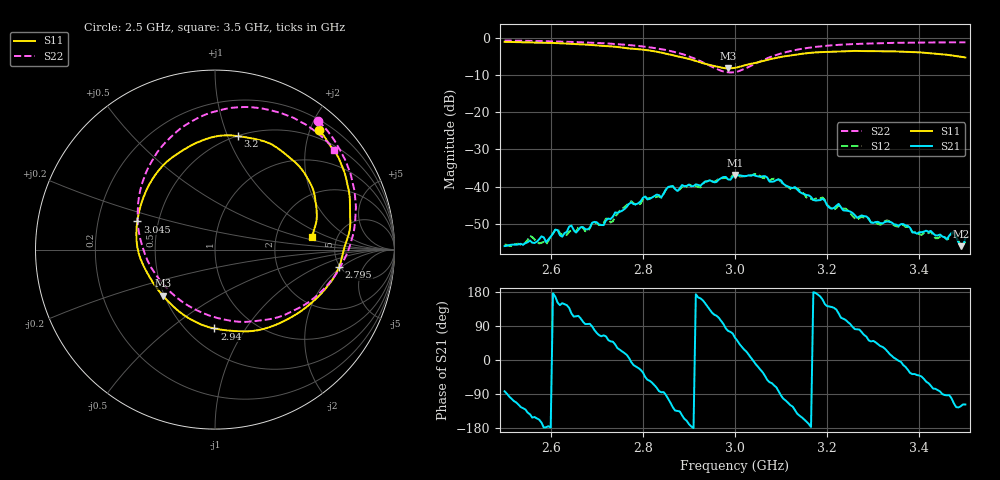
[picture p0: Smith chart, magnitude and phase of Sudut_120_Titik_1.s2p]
# Hz S RI R 50
! CMT, C1220, 16058040, 17.2.0/1
! Date: 15/08/2018 09:47:39
! Data: Format (Calibration Info)
! Freq  S11: Re/Im (F2)  S21: Re/Im (F2)  S12: Re/Im (F2)  S22: Re/Im (F2)
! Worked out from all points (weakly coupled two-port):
!   201 points, 2.5 GHz to 3.5 GHz, reference 50 ohm
!   highest |S21| = -36.91 dB at 3 GHz (marker M1); lowest = -56.0 dB at 3.49 GHz (marker M2)
!   lowest |S11| = -8.2 dB at 2.985 GHz (marker M3), VSWR 2.27, Z = 24.6 - j14.9 ohm
!   |S11| at or under -10 dB: nowhere
!   |S22| runs from -9.3 to -0.7 dB; largest |S21 - S12| = 0.0012
!   S11 on the Smith chart (normalised r, x): 2.5 GHz: 0.36, +2.14; 2.795 GHz: 4.89, -1.85; 2.94 GHz: 0.67, -0.73; 3.045 GHz: 0.38, +0.15; 3.2 GHz: 0.50, +1.09; 3.5 GHz: 3.24, +0.64
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2.5e9  0.5779 0.6669  0.000206 -0.00157  0.000221 -0.00164  0.5758 0.7178
2.555e9  0.6422 0.5791  -0.00151 -0.00112  -0.00168 -0.00137  0.6368 0.6486
2.59e9  0.687 0.5145  -0.00179 -8.1e-05  -0.00166 -0.000204  0.6728 0.5959
2.615e9  0.7087 0.4644  -0.00228 0.00125  -0.0024 0.00126  0.6974 0.5534
2.625e9  0.7182 0.4393  -0.00183 0.00106  -0.00184 0.00129  0.7071 0.5353
2.67e9  0.7464 0.3236  -0.000547 0.00279  -0.000319 0.00277  0.7473 0.444
2.715e9  0.7527 0.1888  0.00128 0.00275  0.00132 0.00296  0.7758 0.3338
2.77e9  0.7187 0.00337  0.00583 0.000545  0.00613 0.000442  0.7814 0.1661
2.795e9  0.6908 -0.0971  0.00568 -0.00273  0.00527 -0.00262  0.7676 0.0771
2.835e9  0.5928 -0.244  0.00104 -0.00759  0.00117 -0.00729  0.7066 -0.0798
2.94e9  -0.00326 -0.4396  -0.00921 0.00732  -0.00933 0.00714  0.172 -0.4028
2.985e9  -0.29 -0.2573  0.00284 0.0122  0.00237 0.0124  -0.1805 -0.2925
3e9  -0.3614 -0.1579  0.00737 0.0122  0.00803 0.0119  -0.2799 -0.2031
3.045e9  -0.4334 0.1571  0.0136 -0.00264  0.0145 -0.00259  -0.4303 0.1406
3.105e9  -0.2633 0.4939  -0.00232 -0.0106  -0.00259 -0.0104  -0.3246 0.5382
3.17e9  0.0138 0.6327  -0.00659 0.000106  -0.00656 -0.000507  -0.0704 0.745
3.2e9  0.129 0.6318  -0.00439 0.00343  -0.00434 0.00365  0.0427 0.7804
3.335e9  0.4812 0.4495  0.00323 0.000958  0.0033 0.000877  0.4184 0.7416
3.435e9  0.5653 0.2309  0.000536 -0.00214  0.000469 -0.00197  0.5873 0.6358
3.475e9  0.5583 0.1308  -0.00102 -0.00224  -0.000872 -0.00222  0.6371 0.5889
3.49e9  0.547 0.0931  -0.000839 -0.00134  -0.000948 -0.0013  0.6541 0.5701
3.5e9  0.5393 0.0698  -0.00092 -0.00177  -0.000912 -0.00157  0.6655 0.5576
